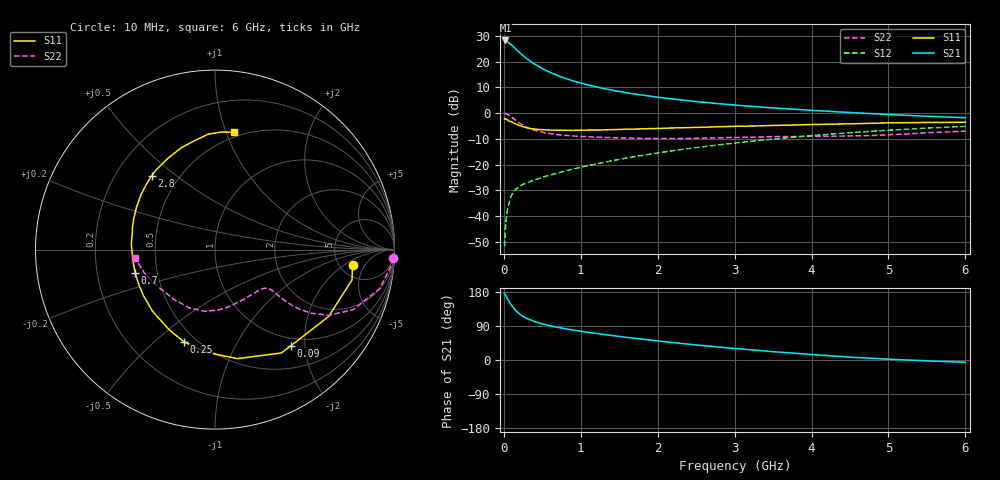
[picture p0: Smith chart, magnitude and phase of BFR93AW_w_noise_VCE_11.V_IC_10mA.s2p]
! Infineon Technologies  Discrete & RF Semiconductors
! BFR93AW
! VCE =  11. V,  IC =  10 mA
! Common Emitter S-Parameters:  Jan 2017
# GHz  S  MA  R  50
!  f  S11  S21  S12  S22
! GHz  MAG  ANG  MAG  ANG  MAG  ANG  MAG  ANG
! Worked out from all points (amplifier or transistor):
!   77 points, 10 MHz to 6 GHz, reference 50 ohm
!   highest |S21| = 28.2 dB at 20 MHz (marker M1)
!   |S21| within 3 dB of that: start of sweep to 144.8 MHz
!   unconditionally stable (mu >= 1): 877.5 MHz to 2.091 GHz
!   at 130 MHz: K = 0.30, MSG = 28.1 dB, |S12| = -30.6 dB
!   at 2.2 GHz: K = 0.99, MSG = 10.0 dB, |S12| = -14.6 dB
!   at 6 GHz: K = 0.85, MSG = 1.7 dB, |S12| = -5.2 dB
!   lowest NFmin = 1.25 dB at 450 MHz
!   S11 on the Smith chart (normalised r, x): 10 MHz: 6.57, -2.74; 90 MHz: 0.87, -1.73; 250 MHz: 0.43, -0.62; 700 MHz: 0.37, -0.13; 2.8 GHz: 0.35, +0.41; 6 GHz: 0.46, +1.07
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0.01  0.7712 -6.3  25.4 175.6  0.0026 82.3  0.9921 -2.7
0.02  0.7818 -12.5  25.63 171.8  0.0057 88.2  0.9831 -5.7
0.05  0.7346 -30.5  24.12 160.3  0.014 73.8  0.9426 -13.4
0.09  0.6822 -51.6  21.52 147.4  0.0229 66.2  0.8577 -21.3
0.1  0.6847 -57.2  21.07 143.8  0.0252 65.2  0.8393 -23.5
0.15  0.6201 -78.4  17.85 131.3  0.0325 58.1  0.7316 -30.0
0.2  0.5738 -95.3  15.12 122.0  0.0374 54.9  0.6448 -33.4
0.25  0.5414 -108.8  12.98 114.7  0.0415 52.1  0.5788 -35.1
0.3  0.515 -119.5  11.28 109.5  0.0442 52.0  0.5274 -35.9
0.4  0.4891 -135.3  8.893 101.2  0.0501 52.7  0.4623 -36.1
0.5  0.4741 -147.2  7.284 95.3  0.0564 54.4  0.4223 -35.8
0.6  0.4665 -156.1  6.175 90.4  0.0627 56.1  0.3969 -35.6
0.7  0.4634 -163.5  5.34 86.3  0.0682 58.1  0.38 -35.6
0.9  0.4604 -174.9  4.209 79.1  0.0817 60.8  0.3584 -36.8
1.1  0.4672 176.0  3.497 73.0  0.0958 63.3  0.3459 -38.9
1.5  0.4796 162.1  2.62 62.3  0.1257 65.2  0.3286 -45.7
2.1  0.5067 146.1  1.946 48.2  0.1767 64.9  0.3194 -60.5
2.8  0.5417 130.7  1.515 34.0  0.2413 61.7  0.3311 -80.4
3.1  0.5549 124.6  1.391 28.8  0.2709 59.4  0.337 -88.6
4.1  0.6013 106.6  1.106 13.1  0.3737 50.2  0.3531 -116.5
5.1  0.6465 91.9  0.919 1.3  0.4728 38.7  0.3835 -149.9
6  0.6623 80.7  0.809 -6.0  0.5501 27.7  0.4464 -173.9
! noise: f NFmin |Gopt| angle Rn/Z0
0.45  1.25  0.15  94  0.13
0.9  1.55  0.24  150  0.14
1.9  2.61  0.47  -148  0.18
2.4  3.24  0.54  -131  0.36
